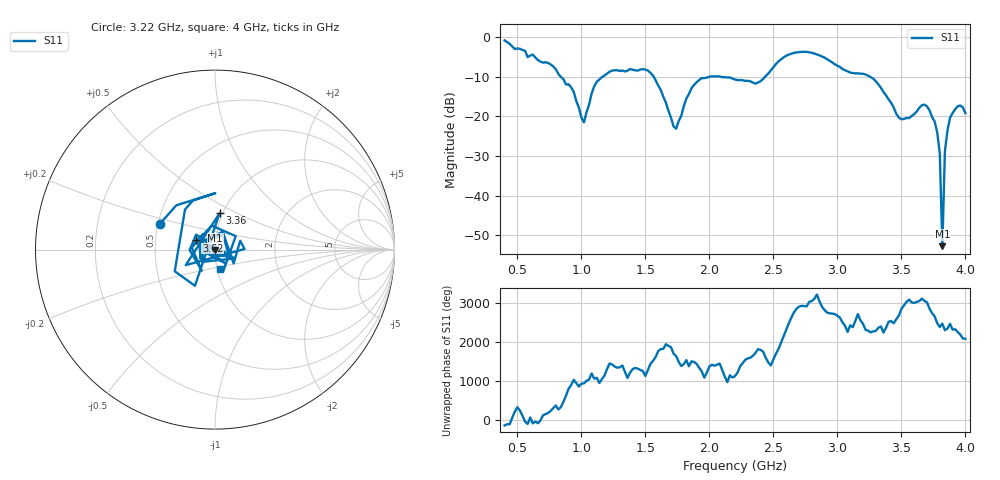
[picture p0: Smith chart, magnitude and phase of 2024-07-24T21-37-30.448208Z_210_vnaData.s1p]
!Created with skrf (http://scikit-rf.org).
# Hz S RI R 50.0
!freq ReS11 ImS11
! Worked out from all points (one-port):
!   181 points, 400 MHz to 4 GHz, reference 50 ohm
!   lowest |S11| = -52.7 dB at 3.82 GHz (marker M1), VSWR 1.00, Z = 50.2 - j0.166 ohm
!   |S11| at or under -10 dB: 839.4 MHz to 1.164 GHz (324.9 MHz wide, 32.4 % of centre); 1.565 GHz to 1.996 GHz (430.9 MHz wide, 24.2 % of centre); 3.257 GHz to end of sweep (the widest 3 of 4)
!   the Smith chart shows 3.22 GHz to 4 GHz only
!   S11 on the Smith chart (normalised r, x): 3.22 GHz: 0.51, +0.17; 3.36 GHz: 0.97, +0.41; 3.62 GHz: 0.81, +0.08; 4 GHz: 1.03, -0.22
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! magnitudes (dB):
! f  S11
! 400 MHz  -0.8
! 860 MHz  -10.6
! 940 MHz  -13.8
! 1.02 GHz  -21.5
! 1.12 GHz  -11.2
! 1.3 GHz  -8.5
! 1.52 GHz  -8.4
! 1.72 GHz  -22.5
! 1.76 GHz  -21.1
! 1.86 GHz  -12.9
! 1.94 GHz  -10.3
! 2.2 GHz  -10.7
! 2.38 GHz  -11.4
! 2.66 GHz  -3.9
! 3.1 GHz  -8.9
! 3.22 GHz  -9.4
! 3.36 GHz  -13.8
! 3.48 GHz  -20.3
! 3.56 GHz  -20.4
! 3.62 GHz  -18.7
! 3.7 GHz  -17.4
! 3.78 GHz  -24.0
! 3.8 GHz  -29.3
! 3.82 GHz  -52.7
! 3.84 GHz  -28.8
! 3.86 GHz  -23.5
! 3.94 GHz  -17.4
! 4 GHz  -19.2
